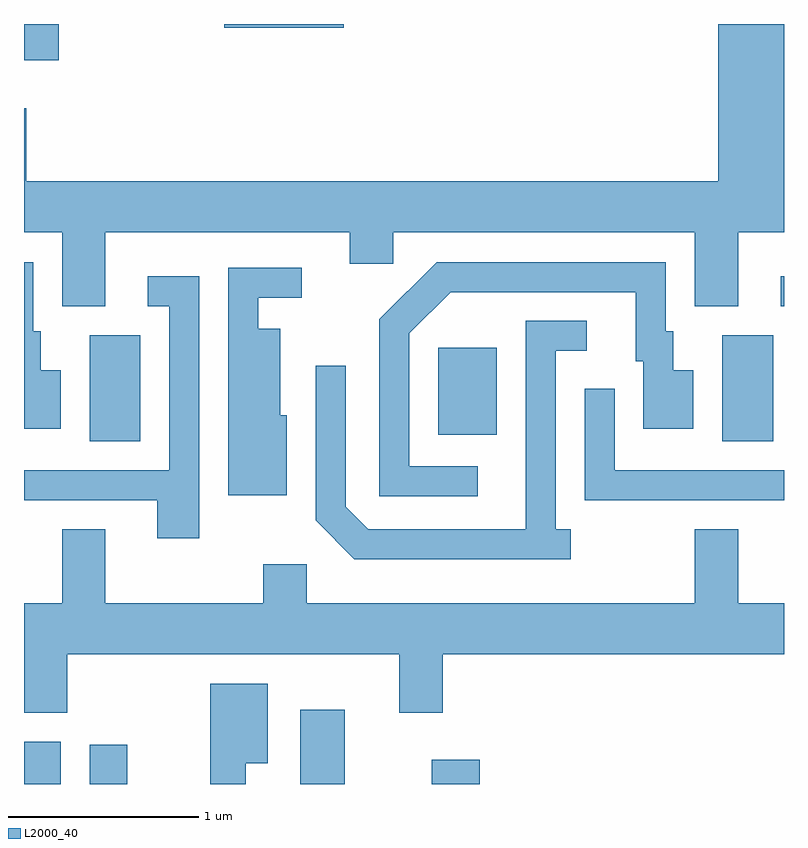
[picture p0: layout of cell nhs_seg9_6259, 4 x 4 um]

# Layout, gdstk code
import gdstk
lib = gdstk.Library(unit=1e-6, precision=1e-09)
def R(c, l, rs):  # rectangles x0, y0, x1, y1
    for r in rs: c.add(gdstk.rectangle(r[:2], r[2:], *l))
def P(c, l, *ps):  # polygons
    for p in ps: c.add(gdstk.Polygon(p, *l))
L2000_40 = (2000, 40)

nhs_seg9_6259 = lib.new_cell('nhs_seg9_6259')
R(nhs_seg9_6259, L2000_40, [(369.611,2024.432,369.804,2024.654), (369.956,2024.432,370.154,2024.639), (371.066,2024.432,371.299,2024.824), (371.756,2024.432,372.009,2024.559), (369.956,2026.236,370.224,2026.794), (373.286,2026.236,373.554,2026.794), (371.791,2026.271,372.099,2026.729), (373.593,2026.946,373.611,2027.104), (369.611,2028.241,369.794,2028.432), (370.666,2028.411,371.294,2028.432)])
P(nhs_seg9_6259, L2000_40, [(370.039,2027.336),(371.326,2027.336),(371.326,2027.171),(371.554,2027.171),(371.554,2027.336),(373.141,2027.336),(373.141,2026.946),(373.369,2026.946),(373.369,2027.336),(373.611,2027.336),(373.611,2028.432),(373.266,2028.432),(373.266,2027.604),(369.624,2027.604),(369.624,2027.988),(369.611,2027.988),(369.611,2027.336),(369.811,2027.336),(369.811,2026.946),(370.039,2026.946)],
  [(369.804,2026.609),(369.699,2026.609),(369.699,2026.814),(369.659,2026.814),(369.659,2027.179),(369.611,2027.179),(369.611,2026.301),(369.804,2026.301)],
  [(371.998,2026.104),(371.639,2026.104),(371.639,2026.804),(371.857,2027.021),(372.831,2027.021),(372.831,2026.656),(372.871,2026.656),(372.871,2026.301),(373.134,2026.301),(373.134,2026.609),(373.029,2026.609),(373.029,2026.814),(372.989,2026.814),(372.989,2027.179),(371.784,2027.179),(371.481,2026.877),(371.481,2025.946),(371.998,2025.946)],
  [(370.994,2026.374),(370.959,2026.374),(370.959,2026.829),(370.844,2026.829),(370.844,2026.991),(371.073,2026.991),(371.073,2027.149),(370.686,2027.149),(370.686,2025.951),(370.994,2025.951)],
  [(370.534,2027.104),(370.263,2027.104),(370.263,2026.946),(370.376,2026.946),(370.376,2026.084),(369.611,2026.084),(369.611,2025.926),(370.311,2025.926),(370.311,2025.726),(370.534,2025.726)],
  [(372.488,2025.774),(372.409,2025.774),(372.409,2026.711),(372.573,2026.711),(372.573,2026.869),(372.251,2026.869),(372.251,2025.774),(371.422,2025.774),(371.304,2025.892),(371.304,2026.633),(371.146,2026.633),(371.146,2025.819),(371.349,2025.616),(372.488,2025.616)],
  [(373.611,2026.084),(372.719,2026.084),(372.719,2026.513),(372.561,2026.513),(372.561,2025.926),(373.611,2025.926)],
  [(369.839,2025.116),(371.586,2025.116),(371.586,2024.806),(371.814,2024.806),(371.814,2025.116),(373.611,2025.116),(373.611,2025.384),(373.369,2025.384),(373.369,2025.774),(373.141,2025.774),(373.141,2025.384),(371.099,2025.384),(371.099,2025.589),(370.871,2025.589),(370.871,2025.384),(370.039,2025.384),(370.039,2025.774),(369.811,2025.774),(369.811,2025.384),(369.611,2025.384),(369.611,2024.806),(369.839,2024.806)],
  [(370.779,2024.541),(370.894,2024.541),(370.894,2024.959),(370.591,2024.959),(370.591,2024.432),(370.779,2024.432)])

lib.write_gds('nhs_seg9_6259.gds')
